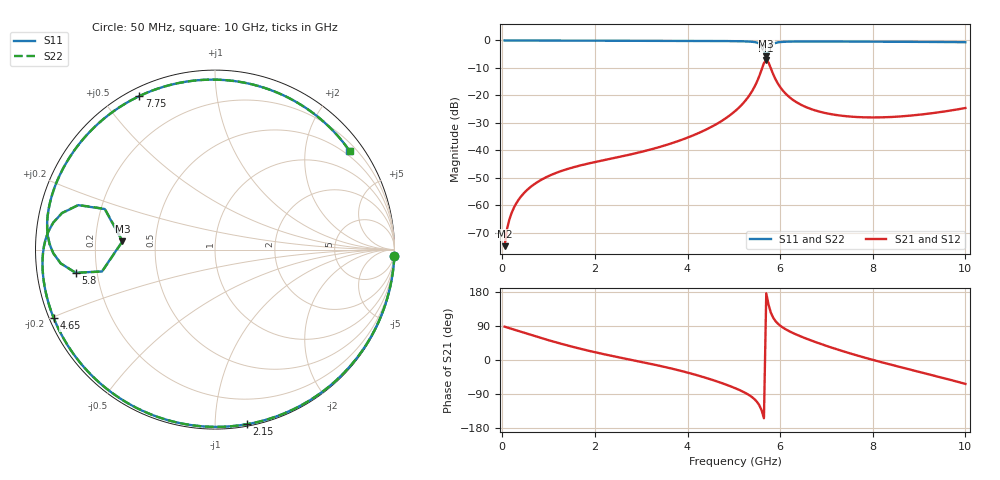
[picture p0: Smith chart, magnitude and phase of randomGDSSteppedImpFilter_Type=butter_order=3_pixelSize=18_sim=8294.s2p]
! freq	dB(S11)	phase(S11)	dB(S12)	phase(S12)
!  dB(S21)	phase(S21)	dB(S22)	phase(S22)
!S-par simulation data
#  GHz  S  DB  R 50
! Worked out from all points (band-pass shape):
!   200 points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, 50 MHz to 10 GHz, reference 50 ohm
!   highest |S21| = -7.05 dB at 5.7 GHz (marker M1); lowest = -74.8 dB at 50 MHz (marker M2)
!   |S21| within 3 dB of the highest: 5.612 GHz to 5.797 GHz (185 MHz wide, 3.24 % of centre)
!   lowest |S11| = -5.7 dB at 5.7 GHz (marker M3), VSWR 3.15, Z = 15.9 + j2.01 ohm
!   |S11| at or under -10 dB: nowhere
!   |S22| runs from -5.7 to 0.0 dB; largest |S21 - S12| = 0
!   S11 on the Smith chart (normalised r, x): 50 MHz: 0, -58; 2.15 GHz: 0.01, -1.20; 4.65 GHz: 0.01, -0.20; 5.8 GHz: 0.12, -0.08; 7.75 GHz: 0.03, +0.62; 10 GHz: 0.37, +3.01
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0.05  -0.00 -2.0  -74.83 88.0  -74.83 88.0  -0.00 -2.0
0.1  -0.00 -3.9  -68.80 86.0  -68.80 86.0  -0.00 -3.9
0.2  -0.01 -7.8  -62.78 82.2  -62.78 82.2  -0.01 -7.8
0.5  -0.03 -19.4  -54.96 70.7  -54.96 70.7  -0.03 -19.4
1  -0.05 -38.5  -49.32 52.2  -49.32 52.2  -0.05 -38.5
1.75  -0.08 -65.8  -45.20 27.7  -45.20 27.7  -0.08 -65.8
2.15  -0.10 -79.6  -43.70 16.5  -43.70 16.5  -0.10 -79.6
3.4  -0.14 -119.7  -38.74 -15.4  -38.74 -15.4  -0.14 -119.7
4.65  -0.21 -157.0  -30.18 -57.1  -30.18 -57.1  -0.21 -157.1
5.05  -0.26 -169.6  -25.36 -75.4  -25.36 -75.4  -0.26 -169.7
5.5  -0.79 170.5  -14.99 -110.5  -14.99 -110.5  -0.79 170.5
5.65  -3.68 159.8  -8.25 -153.6  -8.25 -153.6  -3.69 159.7
5.7  -5.71 174.9  -7.05 175.9  -7.05 175.9  -5.73 174.8
5.75  -3.85 -169.0  -8.06 145.5  -8.06 145.5  -3.86 -169.0
5.8  -2.08 -170.6  -10.19 124.7  -10.19 124.7  -2.08 -170.5
5.9  -0.90 -178.7  -14.12 102.6  -14.12 102.6  -0.90 -178.7
6.15  -0.44 168.7  -19.87 78.9  -19.87 78.9  -0.44 168.6
6.7  -0.36 149.8  -25.14 50.2  -25.14 50.2  -0.36 149.8
7.75  -0.41 116.3  -27.92 8.9  -27.92 8.9  -0.41 116.2
8.35  -0.46 96.2  -27.88 -11.0  -27.88 -11.0  -0.46 96.1
9.15  -0.53 67.9  -26.74 -35.9  -26.74 -35.9  -0.53 67.8
10  -0.63 36.3  -24.57 -63.0  -24.57 -63.0  -0.63 36.2
